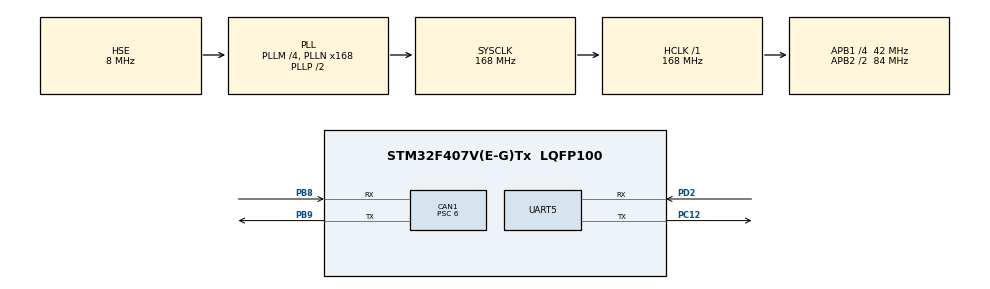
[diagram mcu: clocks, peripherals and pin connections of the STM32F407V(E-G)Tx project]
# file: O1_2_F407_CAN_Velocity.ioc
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CAN1.BS1=CAN_BS1_8TQ
CAN1.BS2=CAN_BS2_5TQ
CAN1.CalculateBaudRate=500000
CAN1.CalculateTimeBit=2000
CAN1.CalculateTimeQuantum=142.85714285714286
CAN1.Prescaler=6
Mcu.Family=STM32F4
Mcu.Name=STM32F407V(E-G)Tx
Mcu.Package=LQFP100
NVIC.PriorityGroup=NVIC_PRIORITYGROUP_4
NVIC.UART5_IRQn=true\:0\:0\:false\:false\:true\:true\:true\:true
PA13.Mode=Serial_Wire
PA13.Signal=SYS_JTMS-SWDIO
PA14.Mode=Serial_Wire
PA14.Signal=SYS_JTCK-SWCLK
PB8.Mode=CAN_Activate
PB8.Signal=CAN1_RX
PB9.Mode=CAN_Activate
PB9.Signal=CAN1_TX
PC12.Mode=Asynchronous
PC12.Signal=UART5_TX
PD2.Mode=Asynchronous
PD2.Signal=UART5_RX
PH0-OSC_IN.Mode=HSE-External-Oscillator
PH0-OSC_IN.Signal=RCC_OSC_IN
PH1-OSC_OUT.Mode=HSE-External-Oscillator
PH1-OSC_OUT.Signal=RCC_OSC_OUT
ProjectManager.HeapSize=0x200
ProjectManager.StackSize=0x400
ProjectManager.TargetToolchain=STM32CubeIDE
RCC.48MHZClocksFreq_Value=84000000
RCC.AHBFreq_Value=168000000
RCC.APB1CLKDivider=RCC_HCLK_DIV4
RCC.APB1Freq_Value=42000000
RCC.APB1TimFreq_Value=84000000
RCC.APB2CLKDivider=RCC_HCLK_DIV2
RCC.APB2Freq_Value=84000000
RCC.APB2TimFreq_Value=168000000
RCC.CortexFreq_Value=168000000
RCC.HCLKFreq_Value=168000000
RCC.HSE_VALUE=8000000
RCC.HSI_VALUE=16000000
RCC.LSE_VALUE=32768
RCC.PLLM=4
RCC.PLLN=168
RCC.PLLSourceVirtual=RCC_PLLSOURCE_HSE
RCC.SYSCLKFreq_VALUE=168000000
RCC.SYSCLKSource=RCC_SYSCLKSOURCE_PLLCLK
RCC.VCOOutputFreq_Value=336000000
UART5.VirtualMode=Asynchronous
board=custom

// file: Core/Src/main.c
/* USER CODE BEGIN Header */
/**
  ******************************************************************************
  * @file           : main.c
  * @brief          : Main program body
  ******************************************************************************
  * @attention
  *
  * Copyright (c) 2025 STMicroelectronics.
  * All rights reserved.
  *
  * This software is licensed under terms that can be found in the LICENSE file
  * in the root directory of this software component.
  * If no LICENSE file comes with this software, it is provided AS-IS.
  *
  ******************************************************************************
  */
/* USER CODE END Header */
#include "main.h"
#include "can.h"
#include "usart.h"
#include "gpio.h"

/* USER CODE BEGIN Includes */

#include "FS-iA6B.h"

/* USER CODE END Includes */

/* USER CODE BEGIN PTD */

#define ERPM_MAX   4000
#define ERPM_MIN  -4000

#define VESC1 0x00000040
#define VESC2 0x00000043
#define VESC3 0x00000064
#define VESC4 0x00000065

/* USER CODE END PTD */

/* USER CODE BEGIN PD */

extern uint8_t ibus_rx_buf[32];  // Ibus
extern uint8_t ibus_rx_cplt_flag;

CAN_TxHeaderTypeDef Can_Tx_Header;

uint32_t TxMailBox;

uint8_t Can_Tx_Data[8] = { 0x00, 0x00, 0x00, 0x00, 0x00, 0x00, 0x00, 0x00 };

/* USER CODE END PD */

void SystemClock_Config(void);

int main(void)
{

  /* MCU Configuration--------------------------------------------------------*/

  /* Reset of all peripherals, Initializes the Flash interface and the Systick. */
  HAL_Init();

  /* Configure the system clock */
  SystemClock_Config();

  /* Initialize all configured peripherals */
  MX_GPIO_Init();
  MX_CAN1_Init();
  MX_UART5_Init();
  /* USER CODE BEGIN 2 */

  LL_USART_EnableIT_RXNE(UART5); // bat ngat ibus

  HAL_CAN_Start(&hcan1);
  Can_Tx_Header.DLC = 8;
  Can_Tx_Header.IDE = CAN_ID_EXT;
  Can_Tx_Header.RTR = CAN_RTR_DATA;
  Can_Tx_Header.TransmitGlobalTime = DISABLE;

  /* USER CODE END 2 */

  /* Infinite loop */
  /* USER CODE BEGIN WHILE */
  while (1)
  {
	  if(iBus.SwA == 2000)
	  {
		  if(iBus.RV > 1530 || iBus.RV < 1470)
		  {
			  static int16_t control_prev;
			  int16_t control = 0.5*control_prev + 0.5*(int16_t)(iBus.RV - 1500)/2;
			  control_prev = control;
			  Can_Tx_Data[0] = (control >> 8) & 0xFF;
			  Can_Tx_Data[1] = (control >> 8) & 0xFF;
			  Can_Tx_Data[2] = control & 0xFF;

			  Can_Tx_Header.ExtId = VESC1;
			  HAL_CAN_AddTxMessage(&hcan1, &Can_Tx_Header, Can_Tx_Data, &TxMailBox);
			  Can_Tx_Header.ExtId = VESC2;
			  HAL_CAN_AddTxMessage(&hcan1, &Can_Tx_Header, Can_Tx_Data, &TxMailBox);
			  HAL_Delay(1);
			  Can_Tx_Header.ExtId = VESC3;
			  HAL_CAN_AddTxMessage(&hcan1, &Can_Tx_Header, Can_Tx_Data, &TxMailBox);
			  Can_Tx_Header.ExtId = VESC4;
			  HAL_CAN_AddTxMessage(&hcan1, &Can_Tx_Header, Can_Tx_Data, &TxMailBox);
		  }
		  else
		  {
			  Can_Tx_Data[0] = 0;
			  Can_Tx_Data[1] = 0;
			  Can_Tx_Data[2] = 0;

			  Can_Tx_Header.ExtId = 0x00000064;
			  HAL_CAN_AddTxMessage(&hcan1, &Can_Tx_Header, Can_Tx_Data, &TxMailBox);
			  Can_Tx_Header.ExtId = 0x00000065;
			  HAL_CAN_AddTxMessage(&hcan1, &Can_Tx_Header, Can_Tx_Data, &TxMailBox);
			  HAL_Delay(1);
			  Can_Tx_Header.ExtId = 0x00000040;
			  HAL_CAN_AddTxMessage(&hcan1, &Can_Tx_Header, Can_Tx_Data, &TxMailBox);
			  Can_Tx_Header.ExtId = 0x00000043;
			  HAL_CAN_AddTxMessage(&hcan1, &Can_Tx_Header, Can_Tx_Data, &TxMailBox);
		  }
	  }

    /* USER CODE END WHILE */

  }
}

void SystemClock_Config(void)
{
  RCC_OscInitTypeDef RCC_OscInitStruct = {0};
  RCC_ClkInitTypeDef RCC_ClkInitStruct = {0};

  /** Configure the main internal regulator output voltage
  */
  __HAL_RCC_PWR_CLK_ENABLE();
  __HAL_PWR_VOLTAGESCALING_CONFIG(PWR_REGULATOR_VOLTAGE_SCALE1);

  /** Initializes the RCC Oscillators according to the specified parameters
  * in the RCC_OscInitTypeDef structure.
  */
  RCC_OscInitStruct.OscillatorType = RCC_OSCILLATORTYPE_HSE;
  RCC_OscInitStruct.HSEState = RCC_HSE_ON;
  RCC_OscInitStruct.PLL.PLLState = RCC_PLL_ON;
  RCC_OscInitStruct.PLL.PLLSource = RCC_PLLSOURCE_HSE;
  RCC_OscInitStruct.PLL.PLLM = 4;
  RCC_OscInitStruct.PLL.PLLN = 168;
  RCC_OscInitStruct.PLL.PLLP = RCC_PLLP_DIV2;
  RCC_OscInitStruct.PLL.PLLQ = 4;
  if (HAL_RCC_OscConfig(&RCC_OscInitStruct) != HAL_OK)
  {
    Error_Handler();
  }

  /** Initializes the CPU, AHB and APB buses clocks
  */
  RCC_ClkInitStruct.ClockType = RCC_CLOCKTYPE_HCLK|RCC_CLOCKTYPE_SYSCLK
                              |RCC_CLOCKTYPE_PCLK1|RCC_CLOCKTYPE_PCLK2;
  RCC_ClkInitStruct.SYSCLKSource = RCC_SYSCLKSOURCE_PLLCLK;
  RCC_ClkInitStruct.AHBCLKDivider = RCC_SYSCLK_DIV1;
  RCC_ClkInitStruct.APB1CLKDivider = RCC_HCLK_DIV4;
  RCC_ClkInitStruct.APB2CLKDivider = RCC_HCLK_DIV2;

  if (HAL_RCC_ClockConfig(&RCC_ClkInitStruct, FLASH_LATENCY_5) != HAL_OK)
  {
    Error_Handler();
  }
}

void Error_Handler(void)
{
  __disable_irq();
  while (1)
  {
  }
}
